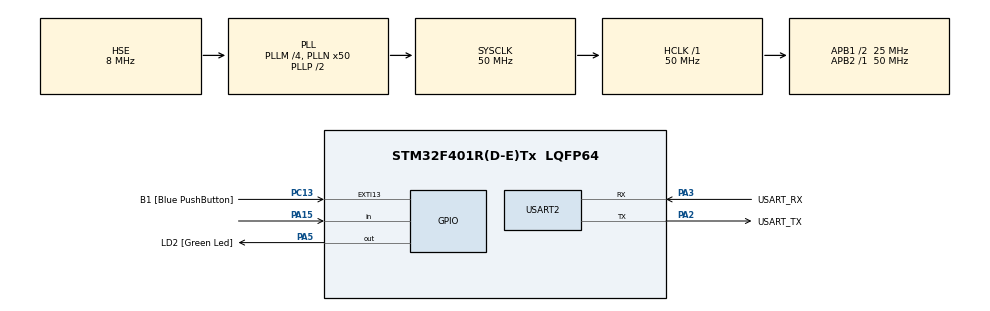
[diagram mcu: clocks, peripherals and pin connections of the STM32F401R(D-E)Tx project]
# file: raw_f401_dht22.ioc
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Mcu.Family=STM32F4
RCC.PLLSourceVirtual=RCC_PLLSOURCE_HSE
PC15-OSC32_OUT.Mode=LSE-External-Oscillator
PA2.GPIO_PuPd=GPIO_NOPULL
VP_TIM5_VS_ClockSourceINT.Mode=Internal
RCC.CortexFreq_Value=50000000
PC13-ANTI_TAMP.GPIO_PuPd=GPIO_NOPULL
PC13-ANTI_TAMP.GPIO_Label=B1 [Blue PushButton]
PA14.GPIO_Label=TCK
PA3.GPIO_PuPd=GPIO_NOPULL
PH1\ -\ OSC_OUT.Mode=HSE-External-Clock-Source
PA2.GPIO_Speed=GPIO_SPEED_FREQ_LOW
RCC.APB1CLKDivider=RCC_HCLK_DIV2
PC14-OSC32_IN.Signal=RCC_OSC32_IN
PA3.GPIO_Speed=GPIO_SPEED_FREQ_LOW
RCC.SYSCLKSource=RCC_SYSCLKSOURCE_PLLCLK
ProjectManager.StackSize=0x400
PA13.Signal=SYS_JTMS-SWDIO
PA3.Mode=Asynchronous
PH0\ -\ OSC_IN.Mode=HSE-External-Clock-Source
PH0\ -\ OSC_IN.Signal=RCC_OSC_IN
ProjectManager.TargetToolchain=TrueSTUDIO
PA3.GPIO_Mode=GPIO_MODE_AF_PP
RCC.HCLKFreq_Value=50000000
RCC.APB2TimFreq_Value=50000000
PC15-OSC32_OUT.Signal=RCC_OSC32_OUT
RCC.AHBFreq_Value=50000000
PA5.Signal=GPIO_Output
RCC.HSE_VALUE=8000000
PH1\ -\ OSC_OUT.Signal=RCC_OSC_OUT
board=NUCLEO-F401RE
PC13-ANTI_TAMP.Signal=GPXTI13
RCC.VCOOutputFreq_Value=100000000
RCC.APB2Freq_Value=50000000
PC14-OSC32_IN.Mode=LSE-External-Oscillator
PA14.Mode=Serial_Wire
PA5.GPIO_PuPd=GPIO_NOPULL
PA13.Mode=Serial_Wire
Mcu.Name=STM32F401R(D-E)Tx
PA2.Signal=USART2_TX
PA13.GPIO_Label=TMS
RCC.48MHZClocksFreq_Value=14285714.285714285
PB3.Signal=SYS_JTDO-SWO
RCC.SYSCLKFreq_VALUE=50000000
Mcu.Package=LQFP64
PA5.GPIO_Label=LD2 [Green Led]
USART2.VirtualMode=VM_ASYNC
PC13-ANTI_TAMP.GPIO_ModeDefaultEXTI=GPIO_MODE_IT_FALLING
PA2.GPIO_Label=USART_TX
PA14.Signal=SYS_JTCK-SWCLK
PA15.Signal=GPIO_Input
ProjectManager.HeapSize=0x200
RCC.HSI_VALUE=16000000
PA5.GPIO_Speed=GPIO_SPEED_FREQ_LOW
RCC.PLLQ=7
NVIC.PriorityGroup=NVIC_PRIORITYGROUP_0
RCC.PLLM=4
RCC.PLLN=50
RCC.APB1TimFreq_Value=50000000
PA2.Mode=Asynchronous
RCC.APB1Freq_Value=25000000
PA5.GPIO_Mode=GPIO_MODE_OUTPUT_PP
PA3.GPIO_Label=USART_RX
PA3.Signal=USART2_RX
PA2.GPIO_Mode=GPIO_MODE_AF_PP
PB3.GPIO_Label=SWO

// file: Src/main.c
/* USER CODE BEGIN Header */
/**
  ******************************************************************************
  * @file           : main.c
  * @brief          : Main program body
  ******************************************************************************
  * @attention
  *
  * <h2><center>&copy; Copyright (c) 2020 STMicroelectronics.
  * All rights reserved.</center></h2>
  *
  * This software component is licensed by ST under BSD 3-Clause license,
  * the "License"; You may not use this file except in compliance with the
  * License. You may obtain a copy of the License at:
  *                        opensource.org/licenses/BSD-3-Clause
  *
  ******************************************************************************
  */
/* USER CODE END Header */

#include "main.h"

/* USER CODE BEGIN Includes */
#include "dwt_stm32_delay.h"

/* USER CODE END Includes */

/* USER CODE BEGIN PTD */
uint8_t Rh_byte1, Rh_byte2, Temp_byte1, Temp_byte2;
uint16_t SUM, RH, TEMP;

float Temperature = 0;
float Humidity = 0;
uint8_t Presence = 0;

void Set_Pin_Output (GPIO_TypeDef *GPIOx, uint16_t GPIO_Pin)
{
	GPIO_InitTypeDef GPIO_InitStruct = {0};
	GPIO_InitStruct.Pin = GPIO_Pin;
	GPIO_InitStruct.Mode = GPIO_MODE_OUTPUT_PP;
	GPIO_InitStruct.Speed = GPIO_SPEED_FREQ_LOW;
	HAL_GPIO_Init(GPIOx, &GPIO_InitStruct);
}

void Set_Pin_Input (GPIO_TypeDef *GPIOx, uint16_t GPIO_Pin)
{
	GPIO_InitTypeDef GPIO_InitStruct = {0};
	GPIO_InitStruct.Pin = GPIO_Pin;
	GPIO_InitStruct.Mode = GPIO_MODE_INPUT;
	GPIO_InitStruct.Pull = GPIO_PULLUP;
	HAL_GPIO_Init(GPIOx, &GPIO_InitStruct);
}

#define DHT22_PORT GPIOA
#define DHT22_PIN GPIO_PIN_15

void DHT22_Start (void)
{
	Set_Pin_Output(DHT22_PORT, DHT22_PIN); // set the pin as output
	HAL_GPIO_WritePin (DHT22_PORT, DHT22_PIN, 0);   // pull the pin low
	HAL_Delay(500);   // wait for > 1ms

	HAL_GPIO_WritePin (DHT22_PORT, DHT22_PIN, 1);   // pull the pin high
	delay (20);   // wait for 30us

	Set_Pin_Input(DHT22_PORT, DHT22_PIN);   // set as input
}

uint8_t DHT22_Check_Response (void)
{
	Set_Pin_Input(DHT22_PORT, DHT22_PIN);   // set as input
	uint8_t Response = 0;
	delay (40);  // wait for 40us
	if (!(HAL_GPIO_ReadPin (DHT22_PORT, DHT22_PIN))) // if the pin is low
	{
		delay (80);   // wait for 80us

		if ((HAL_GPIO_ReadPin (DHT22_PORT, DHT22_PIN))) Response = 1;  // if the pin is high, response is ok
		else Response = -1;
	}

	while ((HAL_GPIO_ReadPin (DHT22_PORT, DHT22_PIN)));   // wait for the pin to go low
	return Response;
}

uint8_t DHT22_Read (void)
{
	uint8_t i,j;
	for (j=0;j<8;j++)
	{
		while (!(HAL_GPIO_ReadPin (DHT22_PORT, DHT22_PIN)));   // wait for the pin to go high
		delay (40);   // wait for 40 us

		if (!(HAL_GPIO_ReadPin (DHT22_PORT, DHT22_PIN)))   // if the pin is low
		{
			i&= ~(1<<(7-j));   // write 0
		}
		else i|= (1<<(7-j));  // if the pin is high, write 1
		while ((HAL_GPIO_ReadPin (DHT22_PORT, DHT22_PIN)));  // wait for the pin to go low
	}

	return i;
}
/* USER CODE END PTD */

TIM_HandleTypeDef htim5;

UART_HandleTypeDef huart2;

void SystemClock_Config(void);
static void MX_GPIO_Init(void);
static void MX_USART2_UART_Init(void);
static void MX_TIM5_Init(void);

/* USER CODE BEGIN 0 */

void delay (uint16_t time)
{
	/* change your code here for the delay in microseconds */

	__HAL_TIM_SET_COUNTER(&htim5, 0);
	while ((__HAL_TIM_GET_COUNTER(&htim5))<time);}
/* USER CODE END 0 */

int main(void)
{

  /* MCU Configuration--------------------------------------------------------*/

  /* Reset of all peripherals, Initializes the Flash interface and the Systick. */
  HAL_Init();

  /* Configure the system clock */
  SystemClock_Config();

  /* Initialize all configured peripherals */
  MX_GPIO_Init();
  MX_USART2_UART_Init();
  MX_TIM5_Init();

  /* USER CODE BEGIN 2 */
  HAL_TIM_Base_Start(&htim5);

  char buffer[1000];
  sprintf(buffer,"hhhhhhhhhhhhh\n\r");
 HAL_UART_Transmit(&huart2,buffer,strlen(buffer),1000);
  /* USER CODE END 2 */

  /* Infinite loop */
  /* USER CODE BEGIN WHILE */
  while (1)
  {

	  DHT22_Start();
	  Presence = DHT22_Check_Response();
	  Rh_byte1 = DHT22_Read ();
      Rh_byte2 = DHT22_Read ();
	  Temp_byte1 = DHT22_Read ();
	  Temp_byte2 = DHT22_Read ();
	  SUM = DHT22_Read();

	  TEMP = ((Temp_byte1<<8)|Temp_byte2);
	  RH = ((Rh_byte1<<8)|Rh_byte2);
	 // Temperature = (float) (TEMP/10.0);
	 //Humidity = (float) (RH/10.0);
	  sprintf(buffer,"temp=%d.%d hum=%d.%d\n\r",Temp_byte1,Temp_byte2,Rh_byte1,Rh_byte2);
	  HAL_UART_Transmit(&huart2,buffer,strlen(buffer),1000);
	  HAL_Delay(1200);
    /* USER CODE END WHILE */

  }
}

void SystemClock_Config(void)
{
  RCC_OscInitTypeDef RCC_OscInitStruct = {0};
  RCC_ClkInitTypeDef RCC_ClkInitStruct = {0};

  /** Configure the main internal regulator output voltage
  */
  __HAL_RCC_PWR_CLK_ENABLE();
  __HAL_PWR_VOLTAGESCALING_CONFIG(PWR_REGULATOR_VOLTAGE_SCALE2);
  /** Initializes the CPU, AHB and APB busses clocks
  */
  RCC_OscInitStruct.OscillatorType = RCC_OSCILLATORTYPE_HSE;
  RCC_OscInitStruct.HSEState = RCC_HSE_BYPASS;
  RCC_OscInitStruct.PLL.PLLState = RCC_PLL_ON;
  RCC_OscInitStruct.PLL.PLLSource = RCC_PLLSOURCE_HSE;
  RCC_OscInitStruct.PLL.PLLM = 4;
  RCC_OscInitStruct.PLL.PLLN = 50;
  RCC_OscInitStruct.PLL.PLLP = RCC_PLLP_DIV2;
  RCC_OscInitStruct.PLL.PLLQ = 7;
  if (HAL_RCC_OscConfig(&RCC_OscInitStruct) != HAL_OK)
  {
    Error_Handler();
  }
  /** Initializes the CPU, AHB and APB busses clocks
  */
  RCC_ClkInitStruct.ClockType = RCC_CLOCKTYPE_HCLK|RCC_CLOCKTYPE_SYSCLK
                              |RCC_CLOCKTYPE_PCLK1|RCC_CLOCKTYPE_PCLK2;
  RCC_ClkInitStruct.SYSCLKSource = RCC_SYSCLKSOURCE_PLLCLK;
  RCC_ClkInitStruct.AHBCLKDivider = RCC_SYSCLK_DIV1;
  RCC_ClkInitStruct.APB1CLKDivider = RCC_HCLK_DIV2;
  RCC_ClkInitStruct.APB2CLKDivider = RCC_HCLK_DIV1;

  if (HAL_RCC_ClockConfig(&RCC_ClkInitStruct, FLASH_LATENCY_1) != HAL_OK)
  {
    Error_Handler();
  }
}

static void MX_TIM5_Init(void)
{

  TIM_ClockConfigTypeDef sClockSourceConfig = {0};
  TIM_MasterConfigTypeDef sMasterConfig = {0};

  htim5.Instance = TIM5;
  htim5.Init.Prescaler = 0;
  htim5.Init.CounterMode = TIM_COUNTERMODE_UP;
  htim5.Init.Period = 0;
  htim5.Init.ClockDivision = TIM_CLOCKDIVISION_DIV1;
  htim5.Init.AutoReloadPreload = TIM_AUTORELOAD_PRELOAD_DISABLE;
  if (HAL_TIM_Base_Init(&htim5) != HAL_OK)
  {
    Error_Handler();
  }
  sClockSourceConfig.ClockSource = TIM_CLOCKSOURCE_INTERNAL;
  if (HAL_TIM_ConfigClockSource(&htim5, &sClockSourceConfig) != HAL_OK)
  {
    Error_Handler();
  }
  sMasterConfig.MasterOutputTrigger = TIM_TRGO_RESET;
  sMasterConfig.MasterSlaveMode = TIM_MASTERSLAVEMODE_DISABLE;
  if (HAL_TIMEx_MasterConfigSynchronization(&htim5, &sMasterConfig) != HAL_OK)
  {
    Error_Handler();
  }

}

static void MX_USART2_UART_Init(void)
{

  huart2.Instance = USART2;
  huart2.Init.BaudRate = 115200;
  huart2.Init.WordLength = UART_WORDLENGTH_8B;
  huart2.Init.StopBits = UART_STOPBITS_1;
  huart2.Init.Parity = UART_PARITY_NONE;
  huart2.Init.Mode = UART_MODE_TX_RX;
  huart2.Init.HwFlowCtl = UART_HWCONTROL_NONE;
  huart2.Init.OverSampling = UART_OVERSAMPLING_16;
  if (HAL_UART_Init(&huart2) != HAL_OK)
  {
    Error_Handler();
  }

}

static void MX_GPIO_Init(void)
{
  GPIO_InitTypeDef GPIO_InitStruct = {0};

  /* GPIO Ports Clock Enable */
  __HAL_RCC_GPIOC_CLK_ENABLE();
  __HAL_RCC_GPIOH_CLK_ENABLE();
  __HAL_RCC_GPIOA_CLK_ENABLE();
  __HAL_RCC_GPIOB_CLK_ENABLE();

  /*Configure GPIO pin Output Level */
  HAL_GPIO_WritePin(LD2_GPIO_Port, LD2_Pin, GPIO_PIN_RESET);

  /*Configure GPIO pin : B1_Pin */
  GPIO_InitStruct.Pin = B1_Pin;
  GPIO_InitStruct.Mode = GPIO_MODE_IT_FALLING;
  GPIO_InitStruct.Pull = GPIO_NOPULL;
  HAL_GPIO_Init(B1_GPIO_Port, &GPIO_InitStruct);

  /*Configure GPIO pin : LD2_Pin */
  GPIO_InitStruct.Pin = LD2_Pin;
  GPIO_InitStruct.Mode = GPIO_MODE_OUTPUT_PP;
  GPIO_InitStruct.Pull = GPIO_NOPULL;
  GPIO_InitStruct.Speed = GPIO_SPEED_FREQ_LOW;
  HAL_GPIO_Init(LD2_GPIO_Port, &GPIO_InitStruct);

  /*Configure GPIO pin : PA15 */
  GPIO_InitStruct.Pin = GPIO_PIN_15;
  GPIO_InitStruct.Mode = GPIO_MODE_INPUT;
  GPIO_InitStruct.Pull = GPIO_NOPULL;
  HAL_GPIO_Init(GPIOA, &GPIO_InitStruct);

}

void Error_Handler(void)
{
}

/************************ (C) COPYRIGHT STMicroelectronics *****END OF FILE****/
